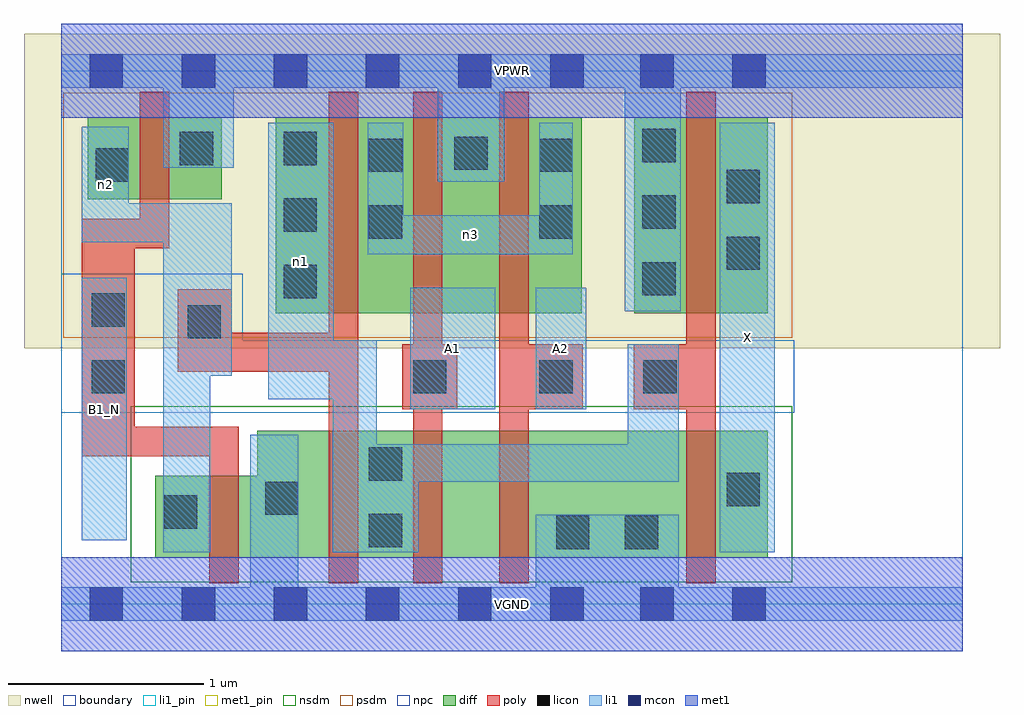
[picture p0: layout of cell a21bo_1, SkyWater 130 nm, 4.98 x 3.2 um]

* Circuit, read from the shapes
.subckt a21bo_1 A1 A2 B1_N VGND VPWR X n1 n2 n3
XM1 VGND B1_N n2 VSUBS sky130_fd_pr__nfet_01v8 w=0.42 l=0.15
XM2 n1 n2 VGND VSUBS sky130_fd_pr__nfet_01v8 w=0.65 l=0.15
XM3 n4 A1 n1 VSUBS sky130_fd_pr__nfet_01v8 w=0.65 l=0.15
XM4 VGND A2 n4 VSUBS sky130_fd_pr__nfet_01v8 w=0.65 l=0.15
XM5 X n1 VGND VSUBS sky130_fd_pr__nfet_01v8 w=0.65 l=0.15
XM6 VPWR B1_N n2 n5 sky130_fd_pr__pfet_01v8 w=0.42 l=0.15
XM7 n3 n2 n1 n5 sky130_fd_pr__pfet_01v8 w=1 l=0.15
XM8 VPWR A1 n3 n5 sky130_fd_pr__pfet_01v8 w=1 l=0.15
XM9 n3 A2 VPWR n5 sky130_fd_pr__pfet_01v8 w=1 l=0.15
XM10 X n1 VPWR n5 sky130_fd_pr__pfet_01v8 w=1 l=0.15
.ends

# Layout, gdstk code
import gdstk
lib = gdstk.Library(unit=1e-6, precision=1e-09)
def R(c, l, rs):  # rectangles x0, y0, x1, y1
    for r in rs: c.add(gdstk.rectangle(r[:2], r[2:], *l))
def A(c, l, x, y, w, h, nx, ny, dx, dy):  # array of equal rectangles
    R(c, l, [(x+i*dx, y+j*dy, x+i*dx+w, y+j*dy+h) for i in range(nx) for j in range(ny)])
nwell = (64, 20)
diff = (65, 20)
poly = (66, 20)
licon = (66, 44)
li1_pin = (67, 16)
li1 = (67, 20)
mcon = (67, 44)
met1_pin = (68, 16)
met1 = (68, 20)
nsdm = (93, 44)
psdm = (94, 20)
npc = (95, 20)
boundary = (235, 4)

a21bo_1 = lib.new_cell('a21bo_1')
R(a21bo_1, nwell, [(-0.19,1.305,4.79,2.91), (0,1.305,4.6,2.91)])
R(a21bo_1, diff, [(0.48,0.235,3.605,0.655), (1,0.235,3.605,0.885), (1.095,1.485,2.655,2.485), (2.925,1.485,3.605,2.485), (0.135,2.065,0.82,2.485)])
R(a21bo_1, poly, [(0.755,0.105,0.905,0.905), (1.365,0.105,1.515,2.615), (1.795,0.105,1.945,2.615), (2.235,0.105,2.385,2.615), (3.19,0.105,3.34,2.615), (0.105,0.755,0.375,1.965), (0.105,0.755,0.905,0.905), (1.74,0.995,2.02,1.325), (2.235,0.995,2.66,1.325), (2.92,0.995,3.34,1.325), (0.595,1.185,1.515,1.385), (0.595,1.185,0.87,1.605), (0.105,1.815,0.55,1.965), (0.4,1.815,0.55,2.615)])
A(a21bo_1, licon, 1.135, 1.56, 0.17, 0.17, 1, 3, 0, 0.34)
A(a21bo_1, licon, 2.965, 1.575, 0.17, 0.17, 1, 3, 0, 0.34)
R(a21bo_1, licon, [(2.525,0.28,2.695,0.45), (2.875,0.28,3.045,0.45), (1.57,0.29,1.74,0.46), (0.525,0.385,0.695,0.555), (1.04,0.455,1.21,0.625), (3.395,0.5,3.565,0.67), (1.57,0.63,1.74,0.8), (0.155,1.075,0.325,1.245), (1.795,1.075,1.965,1.245), (2.44,1.075,2.61,1.245), (2.97,1.075,3.14,1.245), (0.645,1.355,0.815,1.525), (0.155,1.415,0.325,1.585), (3.395,1.705,3.565,1.875), (1.57,1.865,1.74,2.035), (2.44,1.865,2.61,2.035), (3.395,2.045,3.565,2.215), (0.175,2.155,0.345,2.325), (1.57,2.205,1.74,2.375), (2.44,2.205,2.61,2.375), (2.005,2.215,2.175,2.385), (0.605,2.24,0.775,2.41)])
R(a21bo_1, li1_pin, [(3.36,0.265,3.64,2.455), (0.105,0.325,0.335,1.665), (1.78,0.995,2.215,1.615), (2.42,0.995,2.68,1.615)])
R(a21bo_1, li1, [(0,-0.085,4.6,0.085), (0.965,-0.085,1.21,0.865), (2.42,-0.085,3.15,0.455), (0.52,0.265,0.76,2.045), (1.385,0.265,1.61,1.345), (1.385,0.265,1.825,0.815), (3.36,0.265,3.64,2.455), (0.105,0.325,0.335,1.665), (1.385,0.625,3.15,0.815), (2.89,0.625,3.15,1.325), (1.78,0.995,2.215,1.615), (2.42,0.995,2.68,1.615), (1.055,1.045,1.39,2.455), (0.52,1.165,0.87,2.045), (2.875,1.495,3.16,2.805), (1.565,1.785,2.61,1.985), (1.565,1.785,1.745,2.455), (2.44,1.785,2.61,2.455), (0.105,1.845,0.345,2.435), (0.105,1.845,0.87,2.045), (1.92,2.155,2.26,2.805), (0.52,2.225,0.88,2.805), (0,2.635,4.6,2.805)])
A(a21bo_1, mcon, 0.145, -0.085, 0.17, 0.17, 6, 2, 0.47, 2.72)
R(a21bo_1, mcon, [(2.955,-0.085,3.125,0.085), (3.425,-0.085,3.595,0.085), (2.955,2.635,3.125,2.805), (3.425,2.635,3.595,2.805)])
R(a21bo_1, met1_pin, [(0,-0.24,4.6,0.24), (0,2.48,4.6,2.96)])
R(a21bo_1, met1, [(0,-0.24,4.6,0.24), (0,2.48,4.6,2.96)])
R(a21bo_1, nsdm, [(0.355,0.11,3.73,1.01)])
R(a21bo_1, psdm, [(0.01,1.36,3.73,2.61)])
R(a21bo_1, npc, [(0,0.975,3.74,1.345), (0,0.975,0.925,1.685)])
R(a21bo_1, boundary, [(0,0,4.6,2.72)])
a21bo_1.add(gdstk.Label('A1', (1.997,1.305), layer=67, texttype=5))
a21bo_1.add(gdstk.Label('A2', (2.55,1.305), layer=67, texttype=5))
a21bo_1.add(gdstk.Label('B1_N', (0.22,0.995), layer=67, texttype=5))
a21bo_1.add(gdstk.Label('X', (3.5,1.36), layer=67, texttype=5))
a21bo_1.add(gdstk.Label('n2', (0.225,2.14), layer=67, texttype=5))
a21bo_1.add(gdstk.Label('n1', (1.222,1.75), layer=67, texttype=5))
a21bo_1.add(gdstk.Label('n3', (2.087,1.885), layer=67, texttype=5))
a21bo_1.add(gdstk.Label('VPWR', (2.3,2.72), layer=68, texttype=5))
a21bo_1.add(gdstk.Label('VGND', (2.3,0), layer=68, texttype=5))
a21bo_1.add(gdstk.Label('A1', (1.997,1.305), layer=67, texttype=16))
a21bo_1.add(gdstk.Label('A2', (2.55,1.305), layer=67, texttype=16))
a21bo_1.add(gdstk.Label('B1_N', (0.22,0.995), layer=67, texttype=16))
a21bo_1.add(gdstk.Label('X', (3.5,1.36), layer=67, texttype=16))
a21bo_1.add(gdstk.Label('VPWR', (2.3,2.72), layer=68, texttype=16))
a21bo_1.add(gdstk.Label('VGND', (2.3,0), layer=68, texttype=16))

lib.write_gds('a21bo_1.gds')
